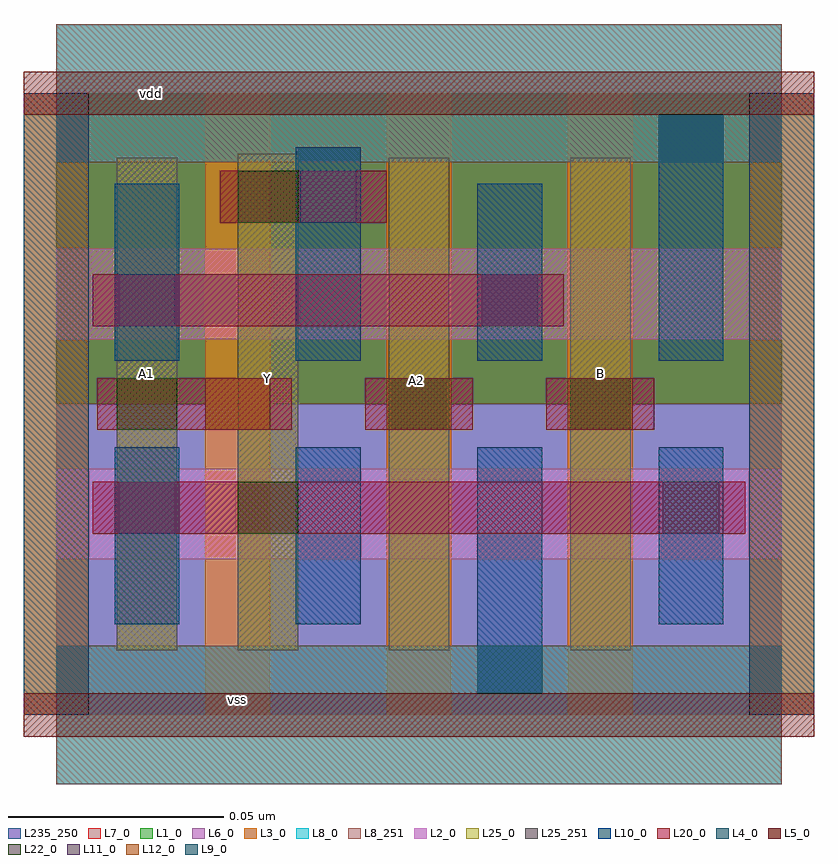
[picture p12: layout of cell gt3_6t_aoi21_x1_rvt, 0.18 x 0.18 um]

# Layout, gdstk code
import gdstk
lib = gdstk.Library(unit=1e-6, precision=5e-10)
def R(c, l, rs):  # rectangles x0, y0, x1, y1
    for r in rs: c.add(gdstk.rectangle(r[:2], r[2:], *l))
def A(c, l, x, y, w, h, nx, ny, dx, dy):  # array of equal rectangles
    R(c, l, [(x+i*dx, y+j*dy, x+i*dx+w, y+j*dy+h) for i in range(nx) for j in range(ny)])
L1_0 = (1, 0)
L2_0 = (2, 0)
L3_0 = (3, 0)
L4_0 = (4, 0)
L5_0 = (5, 0)
L6_0 = (6, 0)
L7_0 = (7, 0)
L8_0 = (8, 0)
L8_251 = (8, 251)
L9_0 = (9, 0)
L10_0 = (10, 0)
L11_0 = (11, 0)
L12_0 = (12, 0)
L20_0 = (20, 0)
L22_0 = (22, 0)
L25_0 = (25, 0)
L25_251 = (25, 251)
L235_250 = (235, 250)

gt3_6t_aoi21_x1_rvt = lib.new_cell('gt3_6t_aoi21_x1_rvt')
R(gt3_6t_aoi21_x1_rvt, L1_0, [(0,0.072,0.168,0.144)])
R(gt3_6t_aoi21_x1_rvt, L2_0, [(0,0.036,0.168,0.057), (0,0.087,0.168,0.108)])
A(gt3_6t_aoi21_x1_rvt, L3_0, -0.0075, 0, 0.015, 0.144, 5, 1, 0.042, 0)
R(gt3_6t_aoi21_x1_rvt, L4_0, [(-0.0075,0,0.0075,0.144), (0.1605,0,0.1755,0.144)])
R(gt3_6t_aoi21_x1_rvt, L5_0, [(-0.0075,-0.005,0.1755,0.005), (-0.0075,0.139,0.1755,0.149)])
R(gt3_6t_aoi21_x1_rvt, L6_0, [(0,0,0.168,0.072)])
R(gt3_6t_aoi21_x1_rvt, L7_0, [(0,0.072,0.168,0.144)])
R(gt3_6t_aoi21_x1_rvt, L8_0, [(0,-0.016,0.168,0.016), (0,0.128,0.168,0.16)])
R(gt3_6t_aoi21_x1_rvt, L8_251, [(0,-0.016,0.168,0.016), (0,0.128,0.168,0.16)])
R(gt3_6t_aoi21_x1_rvt, L9_0, [(0.0975,0.005,0.1125,0.016), (0.1395,0.128,0.1545,0.139)])
R(gt3_6t_aoi21_x1_rvt, L10_0, [(0.0975,0.005,0.1125,0.062), (0.0135,0.021,0.0285,0.062), (0.0555,0.021,0.0705,0.062), (0.1395,0.021,0.1545,0.062), (0.0135,0.082,0.0285,0.123), (0.0555,0.082,0.0705,0.1315), (0.0975,0.082,0.1125,0.123), (0.1395,0.082,0.1545,0.139)])
R(gt3_6t_aoi21_x1_rvt, L11_0, [(0.0145,0.042,0.0275,0.054), (0.1405,0.042,0.1535,0.054), (0.0145,0.09,0.0275,0.102), (0.0985,0.09,0.1115,0.102), (0.0565,0.114,0.0695,0.126)])
A(gt3_6t_aoi21_x1_rvt, L12_0, 0.0345, 0.066, 0.015, 0.012, 3, 1, 0.042, 0)
R(gt3_6t_aoi21_x1_rvt, L20_0, [(0.0085,0.042,0.1595,0.054), (0.0095,0.066,0.0545,0.078), (0.0715,0.066,0.0965,0.078), (0.1135,0.066,0.1385,0.078), (0.0085,0.09,0.1175,0.102), (0.038,0.114,0.0765,0.126)])
R(gt3_6t_aoi21_x1_rvt, L22_0, [(0.042,0.042,0.056,0.054), (0.014,0.066,0.028,0.078), (0.077,0.066,0.091,0.078), (0.119,0.066,0.133,0.078), (0.042,0.114,0.056,0.126)])
R(gt3_6t_aoi21_x1_rvt, L25_0, [(0.014,0.015,0.028,0.129), (0.042,0.015,0.056,0.13), (0.077,0.015,0.091,0.129), (0.119,0.015,0.133,0.129)])
R(gt3_6t_aoi21_x1_rvt, L25_251, [(0.014,0.015,0.028,0.129), (0.042,0.015,0.056,0.13), (0.077,0.015,0.091,0.129), (0.119,0.015,0.133,0.129)])
R(gt3_6t_aoi21_x1_rvt, L235_250, [(0,0,0.168,0.144)])
gt3_6t_aoi21_x1_rvt.add(gdstk.Label('vss', (0.042,0.0035), layer=8, texttype=251))
gt3_6t_aoi21_x1_rvt.add(gdstk.Label('vdd', (0.022,0.144), layer=8, texttype=251))
gt3_6t_aoi21_x1_rvt.add(gdstk.Label('A1', (0.021,0.079), layer=25, texttype=251))
gt3_6t_aoi21_x1_rvt.add(gdstk.Label('A2', (0.0835,0.0775), layer=25, texttype=251))
gt3_6t_aoi21_x1_rvt.add(gdstk.Label('B', (0.126,0.079), layer=25, texttype=251))
gt3_6t_aoi21_x1_rvt.add(gdstk.Label('Y', (0.049,0.078), layer=25, texttype=251))

lib.write_gds('gt3_6t_aoi21_x1_rvt.gds')
